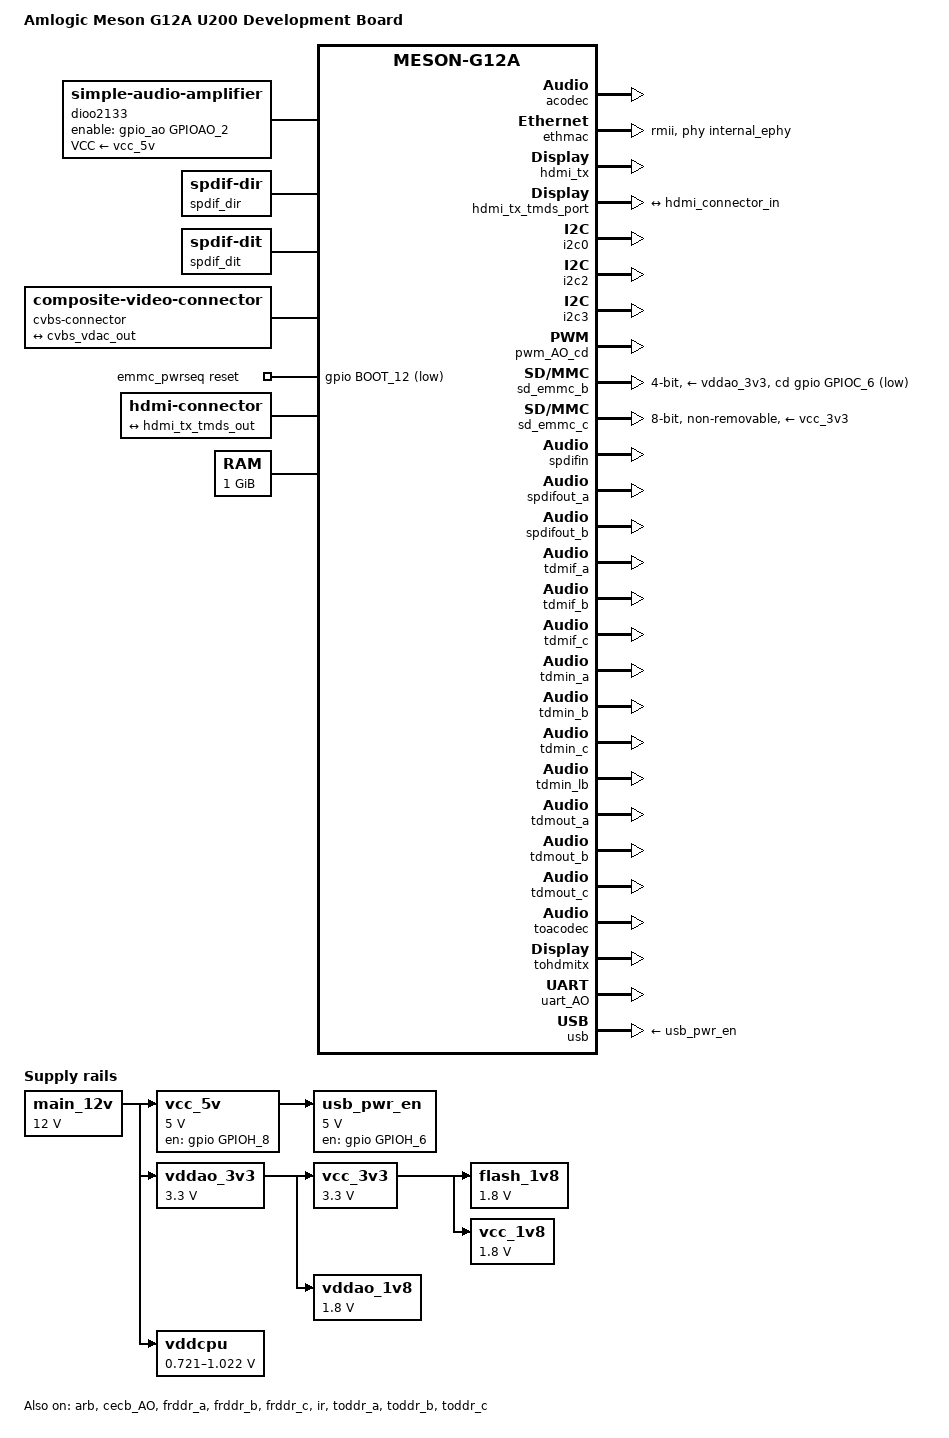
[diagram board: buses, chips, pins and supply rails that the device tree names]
// SPDX-License-Identifier: (GPL-2.0+ OR MIT)
/*
 * Copyright (c) 2018 Amlogic, Inc. All rights reserved.
 */

/dts-v1/;

#include "meson-g12a.dtsi"
#include <dt-bindings/gpio/gpio.h>
#include <dt-bindings/gpio/meson-g12a-gpio.h>
#include <dt-bindings/sound/meson-g12a-tohdmitx.h>
#include <dt-bindings/sound/meson-g12a-toacodec.h>

/ {
	compatible = "amlogic,u200", "amlogic,g12a";
	model = "Amlogic Meson G12A U200 Development Board";

	aliases {
		serial0 = &uart_AO;
		ethernet0 = &ethmac;
	};

	dioo2133: audio-amplifier-0 {
		compatible = "simple-audio-amplifier";
		enable-gpios = <&gpio_ao GPIOAO_2 GPIO_ACTIVE_HIGH>;
		VCC-supply = <&vcc_5v>;
		#sound-dai-cells = <0>;
		sound-name-prefix = "10U2";
	};

	spdif_dir: audio-codec-0 {
		compatible = "linux,spdif-dir";
		#sound-dai-cells = <0>;
		sound-name-prefix = "DIR";
	};

	spdif_dit: audio-codec-1 {
		compatible = "linux,spdif-dit";
		#sound-dai-cells = <0>;
		sound-name-prefix = "DIT";
	};

	chosen {
		stdout-path = "serial0:115200n8";
	};

	cvbs-connector {
		compatible = "composite-video-connector";

		port {
			cvbs_connector_in: endpoint {
				remote-endpoint = <&cvbs_vdac_out>;
			};
		};
	};

	emmc_pwrseq: emmc-pwrseq {
		compatible = "mmc-pwrseq-emmc";
		reset-gpios = <&gpio BOOT_12 GPIO_ACTIVE_LOW>;
	};

	hdmi-connector {
		compatible = "hdmi-connector";
		type = "a";

		port {
			hdmi_connector_in: endpoint {
				remote-endpoint = <&hdmi_tx_tmds_out>;
			};
		};
	};

	memory@0 {
		device_type = "memory";
		reg = <0x0 0x0 0x0 0x40000000>;
	};

	flash_1v8: regulator-flash_1v8 {
		compatible = "regulator-fixed";
		regulator-name = "FLASH_1V8";
		regulator-min-microvolt = <1800000>;
		regulator-max-microvolt = <1800000>;
		vin-supply = <&vcc_3v3>;
		regulator-always-on;
	};

	main_12v: regulator-main_12v {
		compatible = "regulator-fixed";
		regulator-name = "12V";
		regulator-min-microvolt = <12000000>;
		regulator-max-microvolt = <12000000>;
		regulator-always-on;
	};

	usb_pwr_en: regulator-usb_pwr_en {
		compatible = "regulator-fixed";
		regulator-name = "USB_PWR_EN";
		regulator-min-microvolt = <5000000>;
		regulator-max-microvolt = <5000000>;
		vin-supply = <&vcc_5v>;

		gpio = <&gpio GPIOH_6 GPIO_ACTIVE_HIGH>;
		enable-active-high;
	};

	vcc_1v8: regulator-vcc_1v8 {
		compatible = "regulator-fixed";
		regulator-name = "VCC_1V8";
		regulator-min-microvolt = <1800000>;
		regulator-max-microvolt = <1800000>;
		vin-supply = <&vcc_3v3>;
		regulator-always-on;
	};

	vcc_3v3: regulator-vcc_3v3 {
		compatible = "regulator-fixed";
		regulator-name = "VCC_3V3";
		regulator-min-microvolt = <3300000>;
		regulator-max-microvolt = <3300000>;
		vin-supply = <&vddao_3v3>;
		regulator-always-on;
		/* FIXME: actually controlled by VDDCPU_B_EN */
	};

	vcc_5v: regulator-vcc_5v {
		compatible = "regulator-fixed";
		regulator-name = "VCC_5V";
		regulator-min-microvolt = <5000000>;
		regulator-max-microvolt = <5000000>;
		vin-supply = <&main_12v>;

		gpio = <&gpio GPIOH_8 GPIO_OPEN_DRAIN>;
		enable-active-high;
	};

	vddao_1v8: regulator-vddao_1v8 {
		compatible = "regulator-fixed";
		regulator-name = "VDDAO_1V8";
		regulator-min-microvolt = <1800000>;
		regulator-max-microvolt = <1800000>;
		vin-supply = <&vddao_3v3>;
		regulator-always-on;
	};

	vddao_3v3: regulator-vddao_3v3 {
		compatible = "regulator-fixed";
		regulator-name = "VDDAO_3V3";
		regulator-min-microvolt = <3300000>;
		regulator-max-microvolt = <3300000>;
		vin-supply = <&main_12v>;
		regulator-always-on;
	};

	vddcpu: regulator-vddcpu {
		/*
		 * MP8756GD Regulator.
		 */
		compatible = "pwm-regulator";

		regulator-name = "VDDCPU";
		regulator-min-microvolt = <721000>;
		regulator-max-microvolt = <1022000>;

		pwm-supply = <&main_12v>;

		pwms = <&pwm_AO_cd 1 1250 0>;
		pwm-dutycycle-range = <100 0>;

		regulator-boot-on;
		regulator-always-on;
	};

	sound {
		compatible = "amlogic,axg-sound-card";
		model = "U200";
		audio-widgets = "Line", "Lineout";
		audio-aux-devs = <&tdmout_a>, <&tdmout_b>, <&tdmout_c>,
				 <&tdmin_a>, <&tdmin_b>, <&tdmin_c>,
				 <&tdmin_lb>, <&dioo2133>;
		audio-routing = "TDMOUT_A IN 0", "FRDDR_A OUT 0",
				"TDMOUT_A IN 1", "FRDDR_B OUT 0",
				"TDMOUT_A IN 2", "FRDDR_C OUT 0",
				"TDM_A Playback", "TDMOUT_A OUT",
				"TDMOUT_B IN 0", "FRDDR_A OUT 1",
				"TDMOUT_B IN 1", "FRDDR_B OUT 1",
				"TDMOUT_B IN 2", "FRDDR_C OUT 1",
				"TDM_B Playback", "TDMOUT_B OUT",
				"TDMOUT_C IN 0", "FRDDR_A OUT 2",
				"TDMOUT_C IN 1", "FRDDR_B OUT 2",
				"TDMOUT_C IN 2", "FRDDR_C OUT 2",
				"TDM_C Playback", "TDMOUT_C OUT",
				"SPDIFOUT_A IN 0", "FRDDR_A OUT 3",
				"SPDIFOUT_A IN 1", "FRDDR_B OUT 3",
				"SPDIFOUT_A IN 2", "FRDDR_C OUT 3",
				"SPDIFOUT_B IN 0", "FRDDR_A OUT 4",
				"SPDIFOUT_B IN 1", "FRDDR_B OUT 4",
				"SPDIFOUT_B IN 2", "FRDDR_C OUT 4",
				"TDMIN_A IN 0", "TDM_A Capture",
				"TDMIN_A IN 1", "TDM_B Capture",
				"TDMIN_A IN 2", "TDM_C Capture",
				"TDMIN_A IN 3", "TDM_A Loopback",
				"TDMIN_A IN 4", "TDM_B Loopback",
				"TDMIN_A IN 5", "TDM_C Loopback",
				"TDMIN_B IN 0", "TDM_A Capture",
				"TDMIN_B IN 1", "TDM_B Capture",
				"TDMIN_B IN 2", "TDM_C Capture",
				"TDMIN_B IN 3", "TDM_A Loopback",
				"TDMIN_B IN 4", "TDM_B Loopback",
				"TDMIN_B IN 5", "TDM_C Loopback",
				"TDMIN_C IN 0", "TDM_A Capture",
				"TDMIN_C IN 1", "TDM_B Capture",
				"TDMIN_C IN 2", "TDM_C Capture",
				"TDMIN_C IN 3", "TDM_A Loopback",
				"TDMIN_C IN 4", "TDM_B Loopback",
				"TDMIN_C IN 5", "TDM_C Loopback",
				"TDMIN_LB IN 3", "TDM_A Capture",
				"TDMIN_LB IN 4", "TDM_B Capture",
				"TDMIN_LB IN 5", "TDM_C Capture",
				"TDMIN_LB IN 0", "TDM_A Loopback",
				"TDMIN_LB IN 1", "TDM_B Loopback",
				"TDMIN_LB IN 2", "TDM_C Loopback",
				"TODDR_A IN 0", "TDMIN_A OUT",
				"TODDR_B IN 0", "TDMIN_A OUT",
				"TODDR_C IN 0", "TDMIN_A OUT",
				"TODDR_A IN 1", "TDMIN_B OUT",
				"TODDR_B IN 1", "TDMIN_B OUT",
				"TODDR_C IN 1", "TDMIN_B OUT",
				"TODDR_A IN 2", "TDMIN_C OUT",
				"TODDR_B IN 2", "TDMIN_C OUT",
				"TODDR_C IN 2", "TDMIN_C OUT",
				"TODDR_A IN 3", "SPDIFIN Capture",
				"TODDR_B IN 3", "SPDIFIN Capture",
				"TODDR_C IN 3", "SPDIFIN Capture",
				"TODDR_A IN 6", "TDMIN_LB OUT",
				"TODDR_B IN 6", "TDMIN_LB OUT",
				"TODDR_C IN 6", "TDMIN_LB OUT",
				"10U2 INL", "ACODEC LOLP",
				"10U2 INR", "ACODEC LORP",
				"Lineout", "10U2 OUTL",
				"Lineout", "10U2 OUTR";

		assigned-clocks = <&clkc CLKID_MPLL2>,
				  <&clkc CLKID_MPLL0>,
				  <&clkc CLKID_MPLL1>;
		assigned-clock-parents = <0>, <0>, <0>;
		assigned-clock-rates = <294912000>,
				       <270950400>,
				       <393216000>;

		dai-link-0 {
			sound-dai = <&frddr_a>;
		};

		dai-link-1 {
			sound-dai = <&frddr_b>;
		};

		dai-link-2 {
			sound-dai = <&frddr_c>;
		};

		dai-link-3 {
			sound-dai = <&toddr_a>;
		};

		dai-link-4 {
			sound-dai = <&toddr_b>;
		};

		dai-link-5 {
			sound-dai = <&toddr_c>;
		};

		/* Connected to the WIFI/BT chip */
		dai-link-6 {
			sound-dai = <&tdmif_a>;
			dai-format = "dsp_a";
			dai-tdm-slot-tx-mask-0 = <1 1>;
			mclk-fs = <256>;

			codec-0 {
				sound-dai = <&toacodec TOACODEC_IN_A>;
			};

			codec-1 {
				sound-dai = <&tohdmitx TOHDMITX_I2S_IN_A>;
			};
		};

		/* Connected to the onboard AD82584F DAC */
		dai-link-7 {
			sound-dai = <&tdmif_b>;
			dai-format = "i2s";
			dai-tdm-slot-tx-mask-0 = <1 1>;
			mclk-fs = <256>;

			codec-0 {
				sound-dai = <&toacodec TOACODEC_IN_B>;
			};

			codec-1 {
				sound-dai = <&tohdmitx TOHDMITX_I2S_IN_B>;
			};
		};

		/* 8ch HDMI interface */
		dai-link-8 {
			sound-dai = <&tdmif_c>;
			dai-format = "i2s";
			dai-tdm-slot-tx-mask-0 = <1 1>;
			dai-tdm-slot-tx-mask-1 = <1 1>;
			dai-tdm-slot-tx-mask-2 = <1 1>;
			dai-tdm-slot-tx-mask-3 = <1 1>;
			mclk-fs = <256>;

			codec-0 {
				sound-dai = <&toacodec TOACODEC_IN_C>;
			};

			codec-1 {
				sound-dai = <&tohdmitx TOHDMITX_I2S_IN_C>;
			};
		};

		/* spdif hdmi and coax output */
		dai-link-9 {
			sound-dai = <&spdifout_a>;

			codec-0 {
				sound-dai = <&spdif_dit>;
			};

			codec-1 {
				sound-dai = <&tohdmitx TOHDMITX_SPDIF_IN_A>;
			};
		};

		/* spdif hdmi interface */
		dai-link-10 {
			sound-dai = <&spdifout_b>;

			codec {
				sound-dai = <&tohdmitx TOHDMITX_SPDIF_IN_B>;
			};
		};

		/* hdmi glue */
		dai-link-11 {
			sound-dai = <&tohdmitx TOHDMITX_I2S_OUT>;

			codec {
				sound-dai = <&hdmi_tx>;
			};
		};

		/* internal codec glue */
		dai-link-12 {
			sound-dai = <&toacodec TOACODEC_OUT>;

			codec {
				sound-dai = <&acodec>;
			};
		};

		/* spdif coax input */
		dai-link-13 {
			sound-dai = <&spdifin>;

			codec {
				sound-dai = <&spdif_dir>;
			};
		};
	};
};

&acodec {
	status = "okay";
};

&arb {
	status = "okay";
};

&cec_AO {
	pinctrl-0 = <&cec_ao_a_h_pins>;
	pinctrl-names = "default";
	status = "disabled";
	hdmi-phandle = <&hdmi_tx>;
};

&cecb_AO {
	pinctrl-0 = <&cec_ao_b_h_pins>;
	pinctrl-names = "default";
	status = "okay";
	hdmi-phandle = <&hdmi_tx>;
};

&clkc_audio {
	status = "okay";
};

&cpu0 {
	cpu-supply = <&vddcpu>;
	operating-points-v2 = <&cpu_opp_table>;
	clocks = <&clkc CLKID_CPU_CLK>;
	clock-latency = <50000>;
};

&cpu1 {
	cpu-supply = <&vddcpu>;
	operating-points-v2 = <&cpu_opp_table>;
	clocks = <&clkc CLKID_CPU_CLK>;
	clock-latency = <50000>;
};

&cpu2 {
	cpu-supply = <&vddcpu>;
	operating-points-v2 = <&cpu_opp_table>;
	clocks = <&clkc CLKID_CPU_CLK>;
	clock-latency = <50000>;
};

&cpu3 {
	cpu-supply = <&vddcpu>;
	operating-points-v2 = <&cpu_opp_table>;
	clocks = <&clkc CLKID_CPU_CLK>;
	clock-latency = <50000>;
};

&clkc_audio {
	status = "okay";
};

&cvbs_vdac_port {
	cvbs_vdac_out: endpoint {
		remote-endpoint = <&cvbs_connector_in>;
	};
};

&ethmac {
	status = "okay";
	phy-handle = <&internal_ephy>;
	phy-mode = "rmii";
};

&frddr_a {
	status = "okay";
};

&frddr_b {
	status = "okay";
};

&frddr_c {
	status = "okay";
};

&hdmi_tx {
	status = "okay";
	pinctrl-0 = <&hdmitx_hpd_pins>, <&hdmitx_ddc_pins>;
	pinctrl-names = "default";
	hdmi-supply = <&vcc_5v>;
};

&hdmi_tx_tmds_port {
	hdmi_tx_tmds_out: endpoint {
		remote-endpoint = <&hdmi_connector_in>;
	};
};

&ir {
	status = "okay";
	pinctrl-0 = <&remote_input_ao_pins>;
	pinctrl-names = "default";
};

/* i2c Touch */
&i2c0 {
	status = "okay";
	pinctrl-0 = <&i2c0_sda_z0_pins>, <&i2c0_sck_z1_pins>;
	pinctrl-names = "default";
};

/* i2c CM */
&i2c2 {
	status = "okay";
	pinctrl-0 = <&i2c2_sda_z_pins>, <&i2c2_sck_z_pins>;
	pinctrl-names = "default";
};

/* i2c Audio */
&i2c3 {
	status = "okay";
	pinctrl-0 = <&i2c3_sda_a_pins>, <&i2c3_sck_a_pins>;
	pinctrl-names = "default";
};

&pwm_AO_cd {
	pinctrl-0 = <&pwm_ao_d_e_pins>;
	pinctrl-names = "default";
	clocks = <&xtal>;
	clock-names = "clkin1";
	status = "okay";
};

/* SD card */
&sd_emmc_b {
	status = "okay";
	pinctrl-0 = <&sdcard_c_pins>;
	pinctrl-1 = <&sdcard_clk_gate_c_pins>;
	pinctrl-names = "default", "clk-gate";

	bus-width = <4>;
	cap-sd-highspeed;
	max-frequency = <50000000>;
	disable-wp;

	cd-gpios = <&gpio GPIOC_6 GPIO_ACTIVE_LOW>;
	vmmc-supply = <&vddao_3v3>;
	vqmmc-supply = <&vddao_3v3>;
};

/* eMMC */
&sd_emmc_c {
	status = "okay";
	pinctrl-0 = <&emmc_ctrl_pins>, <&emmc_data_8b_pins>, <&emmc_ds_pins>;
	pinctrl-1 = <&emmc_clk_gate_pins>;
	pinctrl-names = "default", "clk-gate";

	bus-width = <8>;
	cap-mmc-highspeed;
	mmc-ddr-1_8v;
	mmc-hs200-1_8v;
	max-frequency = <200000000>;
	non-removable;
	disable-wp;

	mmc-pwrseq = <&emmc_pwrseq>;
	vmmc-supply = <&vcc_3v3>;
	vqmmc-supply = <&flash_1v8>;
};

&spdifin {
	pinctrl-0 = <&spdif_in_h_pins>;
	pinctrl-names = "default";
	status = "okay";
};

&spdifout_a {
	pinctrl-0 = <&spdif_ao_out_pins>;
	pinctrl-names = "default";
	status = "okay";
};

&spdifout_b {
	status = "okay";
};

&tdmif_a {
	pinctrl-0 = <&tdm_a_fs_pins>, <&tdm_a_sclk_pins>, <&tdm_a_dout0_pins> ;
	pinctrl-names = "default";
	status = "okay";
};

&tdmif_b {
	pinctrl-0 = <&mclk0_a_pins>, <&tdm_b_fs_pins>, <&tdm_b_sclk_pins>,
		    <&tdm_b_dout0_pins>;
	pinctrl-names = "default";
	status = "okay";

	assigned-clocks = <&clkc_audio AUD_CLKID_TDM_MCLK_PAD0>,
			  <&clkc_audio AUD_CLKID_TDM_SCLK_PAD1>,
			  <&clkc_audio AUD_CLKID_TDM_LRCLK_PAD1>;
	assigned-clock-parents = <&clkc_audio AUD_CLKID_MST_B_MCLK>,
				 <&clkc_audio AUD_CLKID_MST_B_SCLK>,
				 <&clkc_audio AUD_CLKID_MST_B_LRCLK>;
	assigned-clock-rates = <0>, <0>, <0>;
};

&tdmif_c {
	status = "okay";
};

&tdmin_a {
	status = "okay";
};

&tdmin_b {
	status = "okay";
};

&tdmin_c {
	status = "okay";
};

&tdmin_lb {
	status = "okay";
};

&tdmout_a {
	status = "okay";
};

&tdmout_b {
	status = "okay";
};

&tdmout_c {
	status = "okay";
};

&toacodec {
	status = "okay";
};

&toddr_a {
	status = "okay";
};

&toddr_b {
	status = "okay";
};

&toddr_c {
	status = "okay";
};

&tohdmitx {
	status = "okay";
};

&uart_AO {
	status = "okay";
	pinctrl-0 = <&uart_ao_a_pins>;
	pinctrl-names = "default";
};

&usb {
	status = "okay";
	vbus-supply = <&usb_pwr_en>;
};

&usb2_phy0 {
	phy-supply = <&vcc_5v>;
};

&usb2_phy1 {
	phy-supply = <&vcc_5v>;
};
